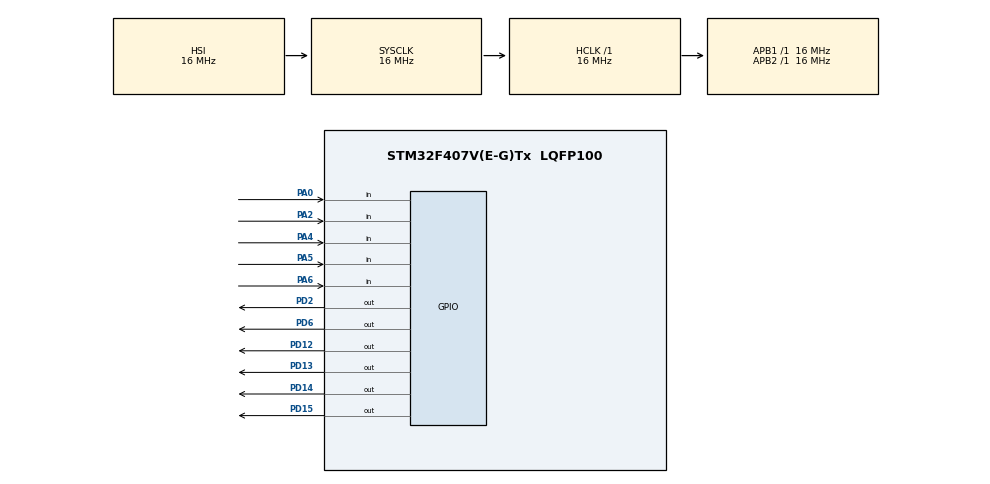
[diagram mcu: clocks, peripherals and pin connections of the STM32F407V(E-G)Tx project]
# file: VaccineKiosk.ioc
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FREERTOS.Queues01=vaccineQueue,1,uint16_t,0,Dynamic,NULL,NULL;taskQueue,1,uint16_t,0,Dynamic,NULL,NULL
FREERTOS.Tasks01=defaultTask,2,128,StartDefaultTask,Default,NULL,Dynamic,NULL,NULL;injectTask,-1,128,StartInjectTask,Default,NULL,Dynamic,NULL,NULL;selectTask,2,128,StartSelectTask,Default,NULL,Dynamic,NULL,NULL;paymentTask,1,128,StartPaymentTask,Default,NULL,Dynamic,NULL,NULL;armTask,0,128,StartArmTask,Default,NULL,Dynamic,NULL,NULL;failsafeTask,2,128,StartFailSafe,Default,NULL,Dynamic,NULL,NULL
Mcu.Family=STM32F4
Mcu.Name=STM32F407V(E-G)Tx
Mcu.Package=LQFP100
NVIC.PriorityGroup=NVIC_PRIORITYGROUP_4
NVIC.TIM1_UP_TIM10_IRQn=true\:15\:0\:false\:false\:true\:false\:false\:true\:true
NVIC.TimeBase=TIM1_UP_TIM10_IRQn
NVIC.TimeBaseIP=TIM1
PA0-WKUP.Signal=GPIO_Input
PA2.GPIO_PuPd=GPIO_PULLUP
PA2.Signal=GPIO_Input
PA4.GPIO_PuPd=GPIO_PULLUP
PA4.Signal=GPIO_Input
PA5.GPIO_PuPd=GPIO_PULLUP
PA5.Signal=GPIO_Input
PA6.GPIO_PuPd=GPIO_PULLUP
PA6.Signal=GPIO_Input
PD12.Signal=GPIO_Output
PD13.Signal=GPIO_Output
PD14.Signal=GPIO_Output
PD15.Signal=GPIO_Output
PD2.Signal=GPIO_Output
PD6.Signal=GPIO_Output
ProjectManager.HeapSize=0x200
ProjectManager.StackSize=0x400
ProjectManager.TargetToolchain=STM32CubeIDE
RCC.AHBFreq_Value=16000000
RCC.APB1Freq_Value=16000000
RCC.APB2Freq_Value=16000000
RCC.CortexFreq_Value=16000000
RCC.HSE_VALUE=25000000
RCC.HSI_VALUE=16000000
RCC.LSE_VALUE=32768
RCC.SYSCLKFreq_VALUE=16000000
RCC.VCOOutputFreq_Value=192000000
VP_FREERTOS_VS_CMSIS_V1.Mode=CMSIS_V1
VP_SYS_VS_tim1.Mode=TIM1
board=custom

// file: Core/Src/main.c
/* USER CODE BEGIN Header */
/**
  ******************************************************************************
  * @file           : main.c
  * @brief          : Main program body
  ******************************************************************************
  * @attention
  *
  * Copyright (c) 2023 STMicroelectronics.
  * All rights reserved.
  *
  * This software is licensed under terms that can be found in the LICENSE file
  * in the root directory of this software component.
  * If no LICENSE file comes with this software, it is provided AS-IS.
  *
  ******************************************************************************
  */
/* USER CODE END Header */
#include "main.h"
#include "cmsis_os.h"
#include "gpio.h"

void SystemClock_Config(void);
void MX_FREERTOS_Init(void);

int main(void)
{

  /* MCU Configuration--------------------------------------------------------*/

  /* Reset of all peripherals, Initializes the Flash interface and the Systick. */
  HAL_Init();

  /* Configure the system clock */
  SystemClock_Config();

  /* Initialize all configured peripherals */
  MX_GPIO_Init();

  /* Call init function for freertos objects (in freertos.c) */
  MX_FREERTOS_Init();

  /* Start scheduler */
  osKernelStart();

  /* We should never get here as control is now taken by the scheduler */
  /* Infinite loop */
  while (1)
  {

  }
}

void SystemClock_Config(void)
{
  RCC_OscInitTypeDef RCC_OscInitStruct = {0};
  RCC_ClkInitTypeDef RCC_ClkInitStruct = {0};

  /** Configure the main internal regulator output voltage
  */
  __HAL_RCC_PWR_CLK_ENABLE();
  __HAL_PWR_VOLTAGESCALING_CONFIG(PWR_REGULATOR_VOLTAGE_SCALE1);

  /** Initializes the RCC Oscillators according to the specified parameters
  * in the RCC_OscInitTypeDef structure.
  */
  RCC_OscInitStruct.OscillatorType = RCC_OSCILLATORTYPE_HSI;
  RCC_OscInitStruct.HSIState = RCC_HSI_ON;
  RCC_OscInitStruct.HSICalibrationValue = RCC_HSICALIBRATION_DEFAULT;
  RCC_OscInitStruct.PLL.PLLState = RCC_PLL_NONE;
  if (HAL_RCC_OscConfig(&RCC_OscInitStruct) != HAL_OK)
  {
    Error_Handler();
  }

  /** Initializes the CPU, AHB and APB buses clocks
  */
  RCC_ClkInitStruct.ClockType = RCC_CLOCKTYPE_HCLK|RCC_CLOCKTYPE_SYSCLK
                              |RCC_CLOCKTYPE_PCLK1|RCC_CLOCKTYPE_PCLK2;
  RCC_ClkInitStruct.SYSCLKSource = RCC_SYSCLKSOURCE_HSI;
  RCC_ClkInitStruct.AHBCLKDivider = RCC_SYSCLK_DIV1;
  RCC_ClkInitStruct.APB1CLKDivider = RCC_HCLK_DIV1;
  RCC_ClkInitStruct.APB2CLKDivider = RCC_HCLK_DIV1;

  if (HAL_RCC_ClockConfig(&RCC_ClkInitStruct, FLASH_LATENCY_0) != HAL_OK)
  {
    Error_Handler();
  }
}

void HAL_TIM_PeriodElapsedCallback(TIM_HandleTypeDef *htim)
{
  if (htim->Instance == TIM1) {
    HAL_IncTick();
  }
}

void Error_Handler(void)
{
  __disable_irq();
  while (1)
  {
  }
}

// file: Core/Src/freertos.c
/* USER CODE BEGIN Header */
/**
  ******************************************************************************
  * File Name          : freertos.c
  * Description        : Code for freertos applications
  ******************************************************************************
  * @attention
  *
  * Copyright (c) 2023 STMicroelectronics.
  * All rights reserved.
  *
  * This software is licensed under terms that can be found in the LICENSE file
  * in the root directory of this software component.
  * If no LICENSE file comes with this software, it is provided AS-IS.
  *
  ******************************************************************************
  */
/* USER CODE END Header */

#include "FreeRTOS.h"
#include "task.h"
#include "main.h"
#include "cmsis_os.h"

osThreadId defaultTaskHandle;
osThreadId injectTaskHandle;
osThreadId selectTaskHandle;
osThreadId paymentTaskHandle;
osThreadId armTaskHandle;
osThreadId failsafeTaskHandle;
osMessageQId vaccineQueueHandle;
osMessageQId taskQueueHandle;

void StartDefaultTask(void const * argument);
void StartInjectTask(void const * argument);
void StartSelectTask(void const * argument);
void StartPaymentTask(void const * argument);
void StartArmTask(void const * argument);
void StartFailSafe(void const * argument);

void MX_FREERTOS_Init(void); /* (MISRA C 2004 rule 8.1) */

/* GetIdleTaskMemory prototype (linked to static allocation support) */
void vApplicationGetIdleTaskMemory( StaticTask_t **ppxIdleTaskTCBBuffer, StackType_t **ppxIdleTaskStackBuffer, uint32_t *pulIdleTaskStackSize );

/* USER CODE BEGIN GET_IDLE_TASK_MEMORY */
static StaticTask_t xIdleTaskTCBBuffer;
static StackType_t xIdleStack[configMINIMAL_STACK_SIZE];

void vApplicationGetIdleTaskMemory( StaticTask_t **ppxIdleTaskTCBBuffer, StackType_t **ppxIdleTaskStackBuffer, uint32_t *pulIdleTaskStackSize )
{
  *ppxIdleTaskTCBBuffer = &xIdleTaskTCBBuffer;
  *ppxIdleTaskStackBuffer = &xIdleStack[0];
  *pulIdleTaskStackSize = configMINIMAL_STACK_SIZE;
  /* place for user code */
}
/* USER CODE END GET_IDLE_TASK_MEMORY */

void MX_FREERTOS_Init(void) {

  /* Create the queue(s) */
  /* definition and creation of vaccineQueue */
  osMessageQDef(vaccineQueue, 1, uint16_t);
  vaccineQueueHandle = osMessageCreate(osMessageQ(vaccineQueue), NULL);

  /* definition and creation of taskQueue */
  osMessageQDef(taskQueue, 1, uint16_t);
  taskQueueHandle = osMessageCreate(osMessageQ(taskQueue), NULL);

  /* Create the thread(s) */
  /* definition and creation of defaultTask */
  osThreadDef(defaultTask, StartDefaultTask, osPriorityHigh, 0, 128);
  defaultTaskHandle = osThreadCreate(osThread(defaultTask), NULL);

  /* definition and creation of injectTask */
  osThreadDef(injectTask, StartInjectTask, osPriorityBelowNormal, 0, 128);
  injectTaskHandle = osThreadCreate(osThread(injectTask), NULL);

  /* definition and creation of selectTask */
  osThreadDef(selectTask, StartSelectTask, osPriorityHigh, 0, 128);
  selectTaskHandle = osThreadCreate(osThread(selectTask), NULL);

  /* definition and creation of paymentTask */
  osThreadDef(paymentTask, StartPaymentTask, osPriorityAboveNormal, 0, 128);
  paymentTaskHandle = osThreadCreate(osThread(paymentTask), NULL);

  /* definition and creation of armTask */
  osThreadDef(armTask, StartArmTask, osPriorityNormal, 0, 128);
  armTaskHandle = osThreadCreate(osThread(armTask), NULL);

  /* definition and creation of failsafeTask */
  osThreadDef(failsafeTask, StartFailSafe, osPriorityHigh, 0, 128);
  failsafeTaskHandle = osThreadCreate(osThread(failsafeTask), NULL);

}

void StartDefaultTask(void const * argument)
{
  /* USER CODE BEGIN StartDefaultTask */
  /* Infinite loop */
  for(;;)
  {
	ulTaskNotifyTake(pdTRUE, portMAX_DELAY);
	HAL_GPIO_WritePin(GPIOD, GPIO_PIN_12, GPIO_PIN_RESET);
  	HAL_GPIO_WritePin(GPIOD, GPIO_PIN_13, GPIO_PIN_RESET);
  	HAL_GPIO_WritePin(GPIOD, GPIO_PIN_14, GPIO_PIN_RESET);
	HAL_GPIO_WritePin(GPIOD, GPIO_PIN_15, GPIO_PIN_RESET);
	HAL_GPIO_WritePin(GPIOD, GPIO_PIN_6, GPIO_PIN_RESET);
	HAL_GPIO_WritePin(GPIOD, GPIO_PIN_2, GPIO_PIN_RESET);

    xTaskNotify(selectTaskHandle, 0, eNoAction);
    vTaskResume(selectTaskHandle);
    vTaskSuspend(NULL);
  }
  /* USER CODE END StartDefaultTask */
}

void StartInjectTask(void const * argument)
{
  /* USER CODE BEGIN StartInjectTask */
  /* Infinite loop */
  uint16_t recValue;
  int injectConfirm = 0;
  TickType_t servoFirstTime = 0;
  TickType_t servoMoveTime = pdMS_TO_TICKS(2000);
  HAL_GPIO_WritePin(GPIOD, GPIO_PIN_14, GPIO_PIN_RESET);
  for(;;)
  {
    xQueueReceive(taskQueueHandle, &recValue, portMAX_DELAY);
    HAL_GPIO_WritePin(GPIOD, GPIO_PIN_13, GPIO_PIN_SET);

    while(HAL_GPIO_ReadPin(GPIOA, GPIO_PIN_6) == GPIO_PIN_RESET){
	if (servoFirstTime == 0)
	{
		servoFirstTime = xTaskGetTickCount();
	}

    if ((xTaskGetTickCount() - servoFirstTime) >= servoMoveTime){
    	injectConfirm = 1;
        HAL_GPIO_WritePin(GPIOD, GPIO_PIN_13, GPIO_PIN_RESET);
        HAL_GPIO_WritePin(GPIOD, GPIO_PIN_12, GPIO_PIN_SET);
    }
    else{
    	while((xTaskGetTickCount() - servoFirstTime) < servoMoveTime){
        HAL_GPIO_WritePin(GPIOD, GPIO_PIN_6, GPIO_PIN_SET);
        HAL_Delay(20);
        HAL_GPIO_WritePin(GPIOD, GPIO_PIN_6, GPIO_PIN_RESET);
    	}
    }
    }

    if(injectConfirm == 1){
      //Vaccine successfully administered
      HAL_Delay(5000);
      xTaskNotify(defaultTaskHandle, 0, eNoAction);
      vTaskSuspend(NULL);
      vTaskResume(defaultTaskHandle);
    }
    else{
      xTaskNotify(failsafeTaskHandle, 0, eNoAction);
      vTaskSuspend(NULL);
      vTaskResume(failsafeTaskHandle);
    }
  }
  /* USER CODE END StartInjectTask */
}

void StartSelectTask(void const * argument)
{
  /* USER CODE BEGIN StartSelectTask */
  /* Infinite loop */
	uint16_t selectedVaccine = 0;
  for(;;)
  {
	ulTaskNotifyTake(pdTRUE, 0);
    GPIO_PinState SelectPushButton = HAL_GPIO_ReadPin(GPIOA, GPIO_PIN_2); // Read user input (select button)
    GPIO_PinState ChoosePushButton = HAL_GPIO_ReadPin(GPIOA, GPIO_PIN_4); // Read user input (choose button)

    if(SelectPushButton == GPIO_PIN_RESET){ // If button is reversed then update GPIO_InitStruct.Pull = GPIO_PULLUP; in gpio.c
    	if(selectedVaccine == 0){ //If blue vaccine was last activated, switch to green
    		HAL_GPIO_WritePin(GPIOD, GPIO_PIN_15, GPIO_PIN_RESET);
    		HAL_GPIO_WritePin(GPIOD, GPIO_PIN_12, GPIO_PIN_SET);
    		selectedVaccine = 1;
    	}
    	else if(selectedVaccine == 1){ //If green vaccine was last activated, switch to orange
    		HAL_GPIO_WritePin(GPIOD, GPIO_PIN_12, GPIO_PIN_RESET);
    		HAL_GPIO_WritePin(GPIOD, GPIO_PIN_13, GPIO_PIN_SET);
    		selectedVaccine = 2;
    	}
    	else if(selectedVaccine == 2){ //If orange vaccine was last activated, switch to blue
    		HAL_GPIO_WritePin(GPIOD, GPIO_PIN_13, GPIO_PIN_RESET);
    		HAL_GPIO_WritePin(GPIOD, GPIO_PIN_15, GPIO_PIN_SET);
    		selectedVaccine = 0;
    	}
    	vTaskDelay(250); //Delay so options don't switch too fast
    }

    if(ChoosePushButton == GPIO_PIN_RESET){
    	HAL_GPIO_WritePin(GPIOD, GPIO_PIN_13, GPIO_PIN_RESET);
    	HAL_GPIO_WritePin(GPIOD, GPIO_PIN_14, GPIO_PIN_RESET);
    	HAL_GPIO_WritePin(GPIOD, GPIO_PIN_15, GPIO_PIN_RESET);
    	xQueueSendToFront(vaccineQueueHandle, &selectedVaccine, 10000); //Put selected vaccine into queue
    	xTaskNotify(paymentTaskHandle, 0, eNoAction);
    	vTaskSuspend(NULL);
    	vTaskResume(paymentTaskHandle);
    }
  }
  /* USER CODE END StartSelectTask */
}

void StartPaymentTask(void const * argument)
{
  uint16_t selectedVaccine;
  TickType_t payFirstTime = 0;
  TickType_t paymentTimeout = pdMS_TO_TICKS(40000); //User has 40 seconds to pay or else timeout and kiosk resets
  for(;;)
  {
	ulTaskNotifyTake(pdTRUE, portMAX_DELAY);
	xQueueReceive(vaccineQueueHandle, &selectedVaccine, portMAX_DELAY);
	while(HAL_GPIO_ReadPin(GPIOA, GPIO_PIN_5) == GPIO_PIN_SET){
		if (payFirstTime == 0)
		{
			payFirstTime = xTaskGetTickCount();
		}

	    if ((xTaskGetTickCount() - payFirstTime) >= paymentTimeout){
	        xTaskNotify(defaultTaskHandle, 0, eNoAction);
	        vTaskSuspend(NULL);
	        vTaskResume(defaultTaskHandle);
	    }
		// Flash green LED
		HAL_GPIO_TogglePin(GPIOD, GPIO_PIN_12);
		vTaskDelay(500);
	}
    // Check payment button
    if(HAL_GPIO_ReadPin(GPIOA, GPIO_PIN_5) == GPIO_PIN_RESET){
    	HAL_GPIO_WritePin(GPIOD, GPIO_PIN_12, GPIO_PIN_RESET);
        // Put selected vaccine into queue
        xQueueSendToFront(vaccineQueueHandle, &selectedVaccine, 0);
        xTaskNotify(armTaskHandle, 0, eNoAction);
        vTaskSuspend(NULL);
        vTaskResume(armTaskHandle);
    }
  }
}

void StartArmTask(void const * argument)
{
  /* USER CODE BEGIN StartArmTask */
  /* Infinite loop */
	uint16_t selectedVaccine;
	TickType_t buttonPressTime = 0;
	TickType_t buttonHoldTime = pdMS_TO_TICKS(5000);
	int armSuccess, armAttempt = 0;
  for(;;)
  {
	ulTaskNotifyTake(pdTRUE, portMAX_DELAY);
    xQueueReceive(vaccineQueueHandle, &selectedVaccine, portMAX_DELAY);
	HAL_GPIO_WritePin(GPIOD, GPIO_PIN_14, GPIO_PIN_SET);

	while(HAL_GPIO_ReadPin(GPIOA, GPIO_PIN_6) == GPIO_PIN_SET){ //Flash red LED while waiting for arm button
		HAL_GPIO_TogglePin(GPIOD, GPIO_PIN_14);
		vTaskDelay(500);
	}

	while(HAL_GPIO_ReadPin(GPIOA, GPIO_PIN_6) == GPIO_PIN_RESET){
		  HAL_GPIO_WritePin(GPIOD, GPIO_PIN_14, GPIO_PIN_SET);
		  armAttempt = 1;
	      if (buttonPressTime == 0)
	      {
	        buttonPressTime = xTaskGetTickCount(); //Record time user put arm down
	      }

	      if ((xTaskGetTickCount() - buttonPressTime) >= buttonHoldTime) //Check if user has held button for 5 seconds
	      {
	        //Success!
	    	HAL_GPIO_WritePin(GPIOD, GPIO_PIN_14, GPIO_PIN_RESET);
	        armSuccess = 1;
	        break;
	      }

	      if (HAL_GPIO_ReadPin(GPIOA, GPIO_PIN_6) == GPIO_PIN_SET) //Check if user released button
	      {
	        buttonPressTime = 0; //Reset time
	      }
	    }

	if(armAttempt == 1){
		if (armSuccess == 1)
		{
			buttonPressTime = 0;
	        xQueueSendToFront(taskQueueHandle, &armSuccess, 0);
	        xTaskNotify(injectTaskHandle, 0, eNoAction);
	        vTaskSuspend(NULL);
	        vTaskResume(injectTaskHandle);
		}
		else if (armSuccess == 0)
		{
	        xTaskNotify(failsafeTaskHandle, 0, eNoAction);
	        vTaskSuspend(NULL);
	        vTaskResume(failsafeTaskHandle);
		}
	}
  }
  /* USER CODE END StartArmTask */
}

void StartFailSafe(void const * argument)
{
  /* USER CODE BEGIN StartFailSafe */
  /* Infinite loop */
	TickType_t alertTime = pdMS_TO_TICKS(25000);
  for(;;)
  {
	ulTaskNotifyTake(pdTRUE, portMAX_DELAY);
	HAL_GPIO_WritePin(GPIOD, GPIO_PIN_12, GPIO_PIN_RESET);
	HAL_GPIO_WritePin(GPIOD, GPIO_PIN_13, GPIO_PIN_RESET);
	HAL_GPIO_WritePin(GPIOD, GPIO_PIN_14, GPIO_PIN_RESET);
	HAL_GPIO_WritePin(GPIOD, GPIO_PIN_15, GPIO_PIN_RESET);

	while(1){
    if (xTaskGetTickCount() >= alertTime)
    {
        xTaskNotify(defaultTaskHandle, 0, eNoAction);
        vTaskSuspend(NULL);
        vTaskResume(defaultTaskHandle);
    }
	HAL_GPIO_TogglePin(GPIOD, GPIO_PIN_12);
	HAL_GPIO_TogglePin(GPIOD, GPIO_PIN_13);
	HAL_GPIO_TogglePin(GPIOD, GPIO_PIN_14);
	HAL_GPIO_TogglePin(GPIOD, GPIO_PIN_15);
	HAL_GPIO_TogglePin(GPIOD, GPIO_PIN_2);
	HAL_Delay(700);
	}
  }
  /* USER CODE END StartFailSafe */
}
